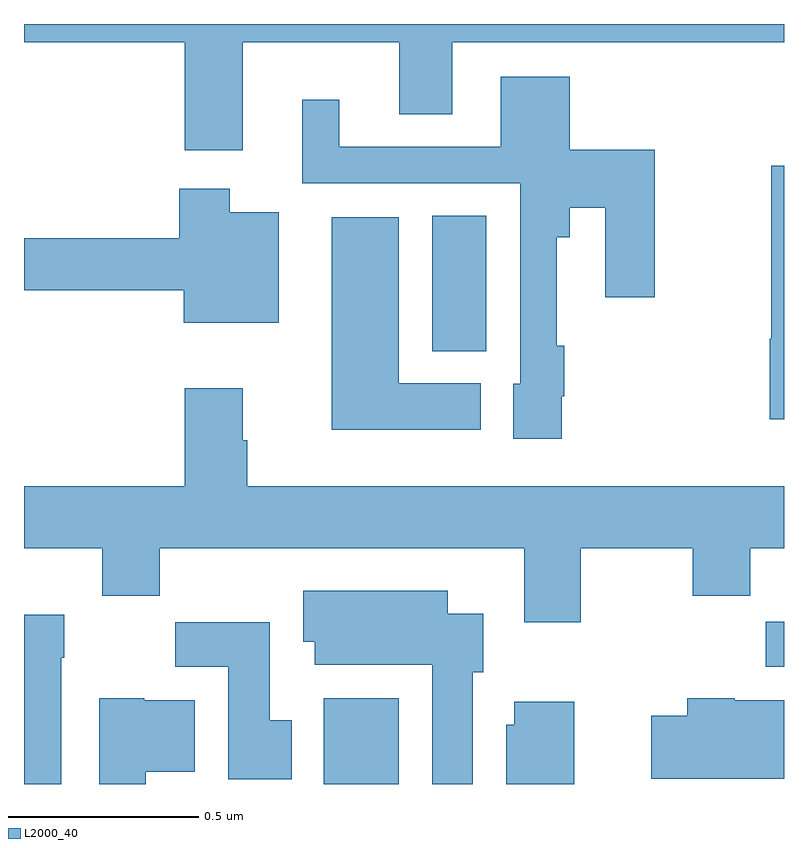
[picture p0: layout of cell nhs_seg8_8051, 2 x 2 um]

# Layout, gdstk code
import gdstk
lib = gdstk.Library(unit=1e-6, precision=1e-09)
def R(c, l, rs):  # rectangles x0, y0, x1, y1
    for r in rs: c.add(gdstk.rectangle(r[:2], r[2:], *l))
def P(c, l, *ps):  # polygons
    for p in ps: c.add(gdstk.Polygon(p, *l))
L2000_40 = (2000, 40)

nhs_seg8_8051 = lib.new_cell('nhs_seg8_8051')
R(nhs_seg8_8051, L2000_40, [(218.789,1095.9,218.986,1096.126), (219.952,1096.208,220,1096.327), (219.074,1097.039,219.217,1097.396)])
P(nhs_seg8_8051, L2000_40, [(218.575,1097.852),(218.987,1097.852),(218.987,1097.662),(219.127,1097.662),(219.127,1097.852),(220,1097.852),(220,1097.9),(218,1097.9),(218,1097.852),(218.423,1097.852),(218.423,1097.568),(218.575,1097.568)],
  [(219.415,1096.921),(219.422,1096.921),(219.422,1097.053),(219.402,1097.053),(219.402,1097.339),(219.436,1097.339),(219.436,1097.417),(219.53,1097.417),(219.53,1097.181),(219.66,1097.181),(219.66,1097.569),(219.436,1097.569),(219.436,1097.761),(219.254,1097.761),(219.254,1097.577),(218.83,1097.577),(218.83,1097.701),(218.732,1097.701),(218.732,1097.481),(219.306,1097.481),(219.306,1096.953),(219.287,1096.953),(219.287,1096.809),(219.415,1096.809)],
  [(220,1097.527),(219.967,1097.527),(219.967,1097.072),(219.962,1097.072),(219.962,1096.86),(220,1096.86)],
  [(218.671,1097.404),(218.542,1097.404),(218.542,1097.467),(218.408,1097.467),(218.408,1097.336),(218,1097.336),(218,1097.2),(218.42,1097.2),(218.42,1097.114),(218.671,1097.114)],
  [(219.202,1096.954),(218.986,1096.954),(218.986,1097.392),(218.81,1097.392),(218.81,1096.832),(219.202,1096.832)],
  [(219.465,1096.52),(219.76,1096.52),(219.76,1096.396),(219.911,1096.396),(219.911,1096.52),(220,1096.52),(220,1096.684),(218.588,1096.684),(218.588,1096.805),(218.575,1096.805),(218.575,1096.942),(218.423,1096.942),(218.423,1096.684),(218,1096.684),(218,1096.52),(218.206,1096.52),(218.206,1096.396),(218.357,1096.396),(218.357,1096.52),(219.317,1096.52),(219.317,1096.326),(219.465,1096.326)],
  [(219.181,1096.194),(219.208,1096.194),(219.208,1096.348),(219.115,1096.348),(219.115,1096.408),(218.735,1096.408),(218.735,1096.274),(218.765,1096.274),(218.765,1096.214),(219.074,1096.214),(219.074,1095.9),(219.181,1095.9)],
  [(218.098,1096.232),(218.106,1096.232),(218.106,1096.345),(218,1096.345),(218,1095.9),(218.098,1095.9)],
  [(218.704,1096.068),(218.647,1096.068),(218.647,1096.326),(218.398,1096.326),(218.398,1096.208),(218.537,1096.208),(218.537,1095.912),(218.704,1095.912)],
  [(220,1096.12),(219.87,1096.12),(219.87,1096.126),(219.745,1096.126),(219.745,1096.08),(219.651,1096.08),(219.651,1095.914),(220,1095.914)],
  [(218.32,1095.932),(218.449,1095.932),(218.449,1096.12),(218.316,1096.12),(218.316,1096.126),(218.198,1096.126),(218.198,1095.9),(218.32,1095.9)],
  [(219.448,1096.117),(219.29,1096.117),(219.29,1096.056),(219.269,1096.056),(219.269,1095.9),(219.448,1095.9)])

lib.write_gds('nhs_seg8_8051.gds')
